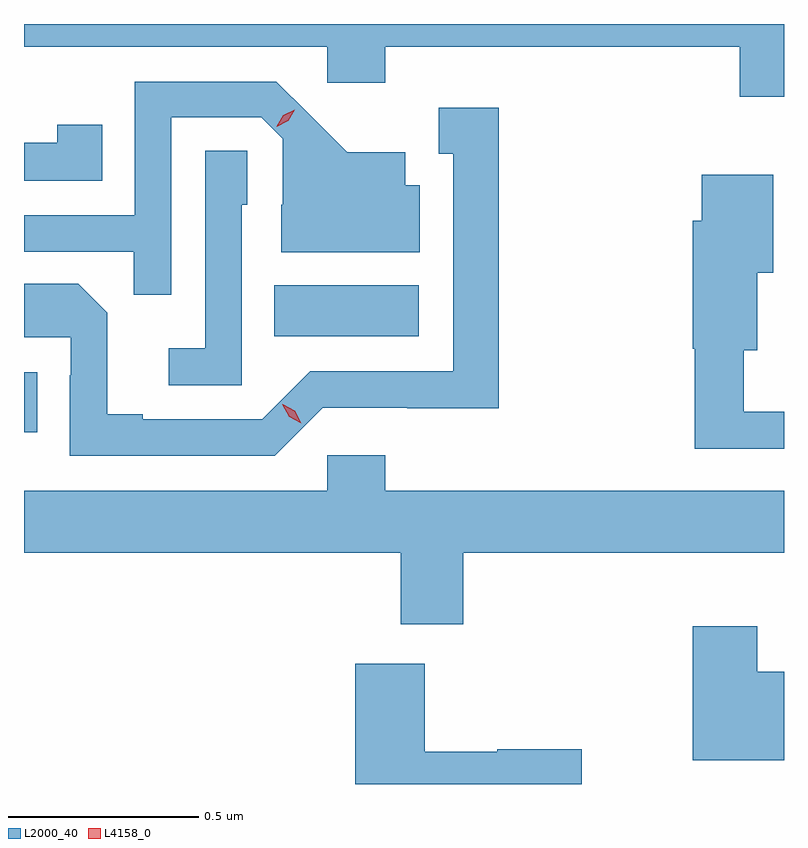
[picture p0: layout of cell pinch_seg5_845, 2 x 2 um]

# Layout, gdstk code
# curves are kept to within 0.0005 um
import gdstk
lib = gdstk.Library(unit=1e-6, precision=1e-09)
def R(c, l, rs):  # rectangles x0, y0, x1, y1
    for r in rs: c.add(gdstk.rectangle(r[:2], r[2:], *l))
def P(c, l, *ps):  # polygons
    for p in ps: c.add(gdstk.Polygon(p, *l))
L2000_40 = (2000, 40)
L4158_0 = (4158, 0)

pinch_seg5_845 = lib.new_cell('pinch_seg5_845')
R(pinch_seg5_845, L2000_40, [(787.392,875.726,787.427,875.883), (788.05,875.978,788.431,876.112)])
P(pinch_seg5_845, L2000_40, [(789.392,876.8),(787.392,876.8),(787.392,876.74),(788.19,876.74),(788.19,876.645),(788.342,876.645),(788.342,876.74),(789.275,876.74),(789.275,876.609),(789.392,876.609)],
  [(787.779,876.555),(788.016,876.555),(788.073,876.498),(788.073,876.324),(788.069,876.324),(788.069,876.2),(788.434,876.2),(788.434,876.376),(788.395,876.376),(788.395,876.463),(788.243,876.463),(788.056,876.648),(787.683,876.648),(787.683,876.297),(787.392,876.297),(787.392,876.201),(787.681,876.201),(787.681,876.088),(787.779,876.088)],
  [(788.178,875.79),(788.4,875.79),(788.4,875.789),(788.641,875.789),(788.641,876.58),(788.483,876.58),(788.483,876.459),(788.522,876.459),(788.522,875.886),(788.145,875.886),(788.019,875.76),(787.705,875.76),(787.705,875.773),(787.611,875.773),(787.611,876.04),(787.535,876.116),(787.392,876.116),(787.392,875.976),(787.515,875.976),(787.515,875.876),(787.512,875.876),(787.512,875.664),(788.052,875.664)],
  [(787.598,876.535),(787.48,876.535),(787.48,876.488),(787.392,876.488),(787.392,876.387),(787.598,876.387)],
  [(787.965,876.324),(787.98,876.324),(787.98,876.467),(787.869,876.467),(787.869,875.947),(787.773,875.947),(787.773,875.85),(787.965,875.85)],
  [(789.392,875.779),(789.286,875.779),(789.286,875.942),(789.322,875.942),(789.322,876.146),(789.364,876.146),(789.364,876.403),(789.176,876.403),(789.176,876.282),(789.152,876.282),(789.152,875.946),(789.157,875.946),(789.157,875.682),(789.392,875.682)],
  [(788.548,875.408),(789.392,875.408),(789.392,875.572),(788.342,875.572),(788.342,875.665),(788.19,875.665),(788.19,875.572),(787.392,875.572),(787.392,875.408),(788.384,875.408),(788.384,875.22),(788.548,875.22)],
  [(789.392,875.095),(789.322,875.095),(789.322,875.215),(789.152,875.215),(789.152,874.862),(789.392,874.862)],
  [(788.86,874.892),(788.637,874.892),(788.637,874.885),(788.447,874.885),(788.447,875.116),(788.264,875.116),(788.264,874.8),(788.86,874.8)])
P(pinch_seg5_845, L4158_0, [(788.122,875.749),(788.09,875.767),(788.072,875.8),(788.072,875.8),(788.073,875.8),(788.104,875.782),(788.122,875.749),(788.122,875.749)],
  [(788.057,876.53),(788.057,876.531),(788.074,876.56),(788.105,876.575),(788.105,876.575),(788.105,876.575),(788.088,876.545),(788.057,876.53)])

lib.write_gds('pinch_seg5_845.gds')
